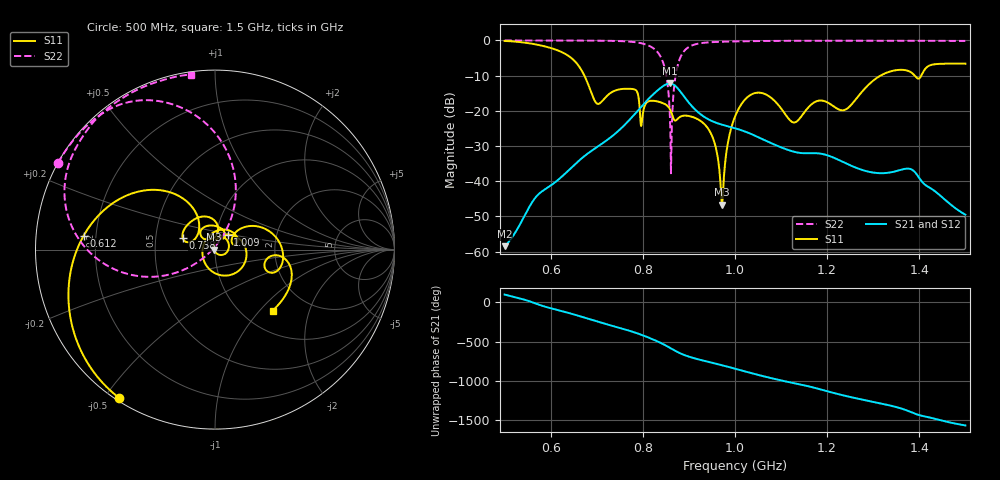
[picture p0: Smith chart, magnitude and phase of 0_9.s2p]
! TOUCHSTONE file generated by CST MICROWAVE STUDIO
! Date and time: Mon Sep 28 14:07:14 2020
! Project name: Scenario_1_Free_SPace.cst
! Parameters = {dx1=311.8; L_HA=400; MT=2.54; Rad_Dielectric=30; Rad_Lower=7.3; Rad_Upper=30; a_HA=580; a_WG=246; b_HA=500; b_WG=121; c_HA=0; c_WG=187; d_feed=85; h_feed=15; h_lower=18; h_upper=40}
! Header version: 2018
! Port assignment regex: !\s*Touchstone port\s*([0-9]+)\s*=\s*(CST MWS port|CST DS port)\s*([0-9]+|Zmin|Zmax)\s*\(\"(.*)\"\)(\s*mode\s*([0-9]+))?.*
! Touchstone port assignment:
! Touchstone port 1 = CST MWS port 1 ("")
! Touchstone port 2 = CST MWS port 2 ("")
# GHz S DB R 50
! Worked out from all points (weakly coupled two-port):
!   1003 points, 500 MHz to 1.5 GHz, reference 50 ohm
!   highest |S21| = -12.23 dB at 858 MHz (marker M1); lowest = -58.4 dB at 500 MHz (marker M2)
!   lowest |S11| = -46.7 dB at 972 MHz (marker M3), VSWR 1.01, Z = 49.6 - j0.116 ohm
!   |S11| at or under -10 dB: 673.2 MHz to 1.316 GHz (642.5 MHz wide, 64.6 % of centre); 1.39 GHz to 1.404 GHz (14.13 MHz wide, 1.01 % of centre)
!   |S22| runs from -37.7 to 0.0 dB; largest |S21 - S12| = 7.2e-05
!   S11 on the Smith chart (normalised r, x): 500 MHz: 0.01, -0.55; 612 MHz: 0.15, +0.05; 738 MHz: 0.69, +0.09; 1.009 GHz: 1.14, +0.19; 1.5 GHz: 1.36, -1.18
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0.5  -0.14 -122.8  -58.44 99.1  -58.44 99.1  -0.01 151.1
0.612  -2.67 173.9  -40.05 -94.0  -40.05 -94.0  -0.02 143.1
0.667  -8.48 125.4  -33.51 175.7  -33.51 175.7  -0.04 138.3
0.701  -17.99 142.3  -30.25 114.6  -30.25 114.6  -0.07 134.6
0.738  -14.34 160.0  -26.70 52.9  -26.70 52.9  -0.14 129.4
0.783  -13.96 115.6  -20.84 -25.8  -20.84 -25.8  -0.50 118.9
0.798  -22.99 130.0  -18.63 -56.8  -18.63 -56.7  -0.85 113.5
0.834  -17.40 95.9  -13.97 -144.8  -13.97 -144.8  -3.67 90.4
0.85  -18.25 73.5  -12.51 168.2  -12.51 168.2  -9.29 70.2
0.858  -19.36 59.4  -12.23 142.0  -12.23 142.0  -19.46 60.0
0.888  -21.39 46.9  -15.68 52.1  -15.68 52.1  -3.29 -177.6
0.946  -25.98 -36.2  -22.66 -45.2  -22.66 -45.2  -0.51 149.8
0.972  -46.69 -165.3  -23.94 -83.1  -23.94 -83.1  -0.36 144.3
1  -21.66 65.9  -24.94 -126.5  -24.94 -126.5  -0.28 140.1
1.009  -19.16 49.5  -25.30 -141.0  -25.30 -141.0  -0.26 139.0
1.059  -14.96 -38.1  -28.01 140.6  -28.01 140.6  -0.16 133.6
1.129  -23.30 163.1  -31.65 46.8  -31.65 46.8  -0.10 127.2
1.167  -18.04 62.6  -32.01 -2.0  -32.01 -2.0  -0.10 124.1
1.239  -19.69 26.8  -34.80 -112.9  -34.80 -112.9  -0.08 118.7
1.334  -8.93 7.6  -37.56 126.9  -37.56 126.9  -0.09 111.4
1.383  -9.14 -21.6  -36.64 37.5  -36.65 37.4  -0.10 107.7
1.5  -6.61 -46.6  -49.49 -130.9  -49.36 -131.7  -0.14 97.8
